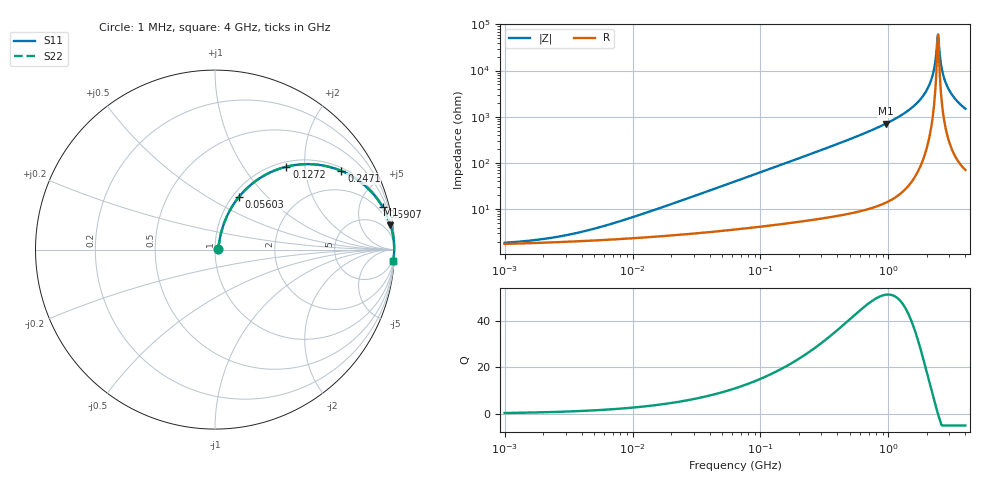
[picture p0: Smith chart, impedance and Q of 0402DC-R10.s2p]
# MHz  S  MA  R  50
!Freq  MagS11  AngS11  MagS21  AngS21  MagS12  AngS12  MagS22  AngS22
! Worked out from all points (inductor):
!   801 points, 1 MHz to 4 GHz, reference 50 ohm
!   read as one part in series: L = 100 nH near 11.57 MHz
!   highest Q = 51.2 at 952 MHz (marker M1), where L = 118 nH
!   self-resonance near 2.422 GHz
!   S11 on the Smith chart (normalised r, x): 1 MHz: 1.04, +0.01; 56.03 MHz: 1.07, +0.70; 127.2 MHz: 1.09, +1.60; 247.1 MHz: 1.12, +3.14; 590.7 MHz: 1.18, +7.88; 4 GHz: 2, -30
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1  0.01849 19.1  0.9826 -0.4  0.9826 -0.4  0.01849 19.1
4.016383  0.0318 49.6  0.9797 -1.4  0.9797 -1.4  0.0318 49.6
15.96482  0.1005 70.0  0.9703 -5.6  0.9703 -5.6  0.1005 70.0
56.02967  0.3237 65.5  0.9146 -18.8  0.9146 -18.8  0.3237 65.5
63.45894  0.3608 63.7  0.9005 -21.1  0.9005 -21.1  0.3608 63.7
127.1775  0.6093 49.3  0.7592 -37.5  0.7592 -37.5  0.6093 49.3
247.0639  0.8296 31.9  0.5286 -56.0  0.5286 -56.0  0.8296 31.9
252.2445  0.8349 31.4  0.5208 -56.5  0.5208 -56.5  0.8349 31.4
590.6534  0.9641 14.2  0.2445 -74.6  0.2445 -74.6  0.9641 14.2
951.9616  0.9874 8.0  0.14 -80.8  0.14 -80.8  0.9874 8.0
1013.11  0.9892 7.4  0.1286 -81.5  0.1286 -81.5  0.9892 7.4
1487.262  0.9961 3.8  0.06704 -84.8  0.06704 -84.8  0.9961 3.8
1907.818  0.998 1.9  0.03244 -85.5  0.03244 -85.5  0.998 1.9
2183.323  0.9984 0.8  0.01465 -83.2  0.01465 -83.2  0.9984 0.8
2275.846  0.9984 0.5  0.009282 -79.9  0.009282 -79.9  0.9984 0.5
2372.29  0.9984 0.2  0.004067 -66.8  0.004067 -66.8  0.9984 0.2
2447.296  0.9984 -0.0  0.001652 10.6  0.001652 10.6  0.9984 -0.0
2524.674  0.9983 -0.2  0.004664 68.8  0.004664 68.8  0.9983 -0.2
2686.845  0.9982 -0.7  0.0126 81.2  0.0126 81.2  0.9982 -0.7
2889.257  0.9978 -1.3  0.02208 83.7  0.02208 83.7  0.9978 -1.3
3306.49  0.9969 -2.3  0.04006 84.4  0.04006 84.4  0.9969 -2.3
4000  0.9946 -3.8  0.06666 83.5  0.06666 83.5  0.9946 -3.8
